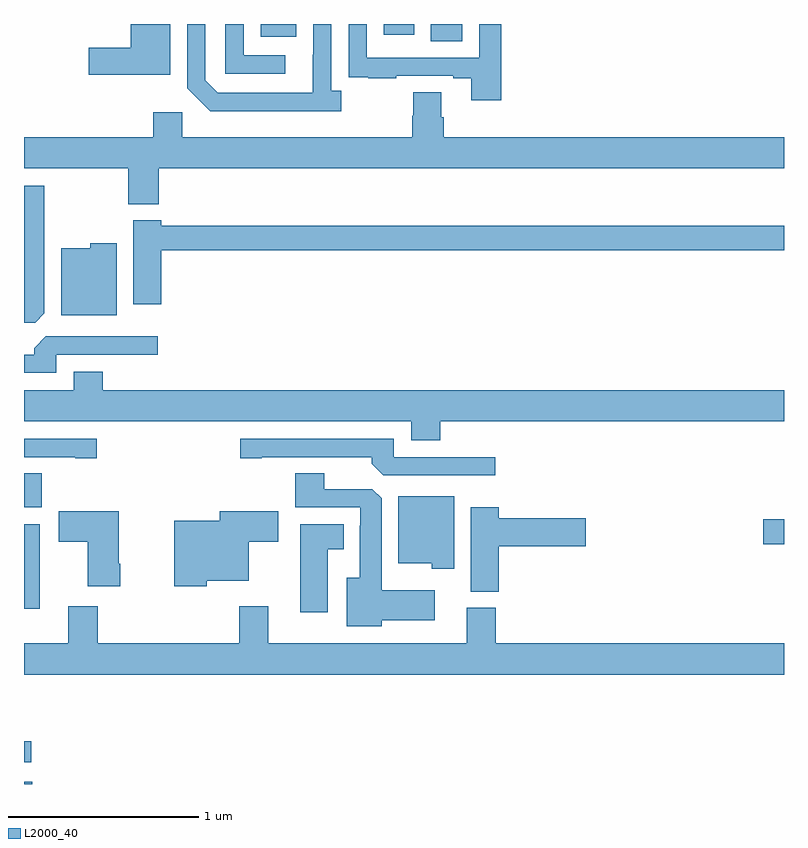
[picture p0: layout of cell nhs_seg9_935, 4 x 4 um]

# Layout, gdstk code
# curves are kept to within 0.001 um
import gdstk
lib = gdstk.Library(unit=1e-6, precision=1e-09)
def R(c, l, rs):  # rectangles x0, y0, x1, y1
    for r in rs: c.add(gdstk.rectangle(r[:2], r[2:], *l))
def P(c, l, *ps):  # polygons
    for p in ps: c.add(gdstk.Polygon(p, *l))
L2000_40 = (2000, 40)

nhs_seg9_935 = lib.new_cell('nhs_seg9_935')
R(nhs_seg9_935, L2000_40, [(161,1206.5,161.044,1206.511), (161,1206.615,161.038,1206.724), (161,1207.422,161.083,1207.867), (164.892,1207.763,165,1207.893), (161,1207.956,161.093,1208.135), (163.142,1210.408,163.306,1210.5), (162.245,1210.433,162.433,1210.5), (162.893,1210.443,163.054,1210.5)])
P(nhs_seg9_935, L2000_40, [(162.376,1210.335),(162.156,1210.335),(162.156,1210.5),(162.06,1210.5),(162.06,1210.239),(162.376,1210.239)],
  [(162.67,1210.15),(162.618,1210.15),(162.618,1210.5),(162.522,1210.5),(162.521,1210.137),(162.021,1210.137),(161.955,1210.203),(161.955,1210.5),(161.859,1210.5),(161.859,1210.161),(161.98,1210.04),(162.67,1210.04)],
  [(161.77,1210.498),(161.681,1210.498),(161.681,1210.5),(161.563,1210.5),(161.563,1210.376),(161.34,1210.376),(161.34,1210.234),(161.77,1210.234)],
  [(163.511,1210.5),(163.395,1210.5),(163.395,1210.323),(162.804,1210.323),(162.804,1210.5),(162.708,1210.5),(162.708,1210.33),(162.709,1210.33),(162.709,1210.221),(162.811,1210.221),(162.811,1210.215),(162.959,1210.215),(162.959,1210.227),(163.259,1210.227),(163.259,1210.215),(163.355,1210.215),(163.355,1210.098),(163.511,1210.098)],
  [(161.708,1209.74),(165,1209.74),(165,1209.904),(163.208,1209.904),(163.208,1210.01),(163.195,1210.01),(163.195,1210.142),(163.048,1210.142),(163.048,1210.017),(163.043,1210.017),(163.043,1209.904),(161.832,1209.904),(161.832,1210.036),(161.681,1210.036),(161.681,1209.904),(161,1209.904),(161,1209.74),(161.548,1209.74),(161.548,1209.551),(161.708,1209.551)],
  [(161.107,1208.977),(161.107,1209.649),(161,1209.649),(161,1208.928),(161.058,1208.928)],
  [(161.723,1209.31),(165,1209.31),(165,1209.439),(161.723,1209.439),(161.723,1209.466),(161.576,1209.466),(161.576,1209.024),(161.723,1209.024)],
  [(161.488,1209.346),(161.349,1209.346),(161.349,1209.319),(161.195,1209.319),(161.195,1208.966),(161.488,1208.966)],
  [(161.169,1208.76),(161.704,1208.76),(161.704,1208.856),(161.115,1208.856),(161.054,1208.794),(161.054,1208.76),(161,1208.76),(161,1208.664),(161.169,1208.664)],
  [(161.261,1208.671),(161.261,1208.572),(161,1208.572),(161,1208.408),(163.037,1208.408),(163.037,1208.309),(163.19,1208.309),(163.19,1208.408),(165,1208.408),(165,1208.572),(161.414,1208.572),(161.414,1208.671)],
  [(163.48,1208.22),(162.945,1208.22),(162.945,1208.316),(162.138,1208.316),(162.138,1208.215),(162.25,1208.215),(162.25,1208.22),(162.83,1208.22),(162.83,1208.186),(162.891,1208.124),(163.48,1208.124)],
  [(161.383,1208.316),(161,1208.316),(161,1208.22),(161.27,1208.22),(161.27,1208.215),(161.383,1208.215)],
  [(162.883,1207.361),(163.162,1207.361),(163.162,1207.519),(162.883,1207.519),(162.883,1208.003),(162.834,1208.052),(162.58,1208.052),(162.58,1208.135),(162.428,1208.135),(162.428,1207.956),(162.771,1207.956),(162.771,1207.859),(162.767,1207.859),(162.767,1207.585),(162.698,1207.585),(162.698,1207.331),(162.883,1207.331)],
  [(163.264,1208.014),(162.971,1208.014),(162.971,1207.661),(163.146,1207.661),(163.146,1207.634),(163.264,1207.634)],
  [(163.499,1207.751),(163.957,1207.751),(163.957,1207.898),(163.499,1207.898),(163.499,1207.957),(163.352,1207.957),(163.352,1207.513),(163.499,1207.513)],
  [(161.506,1207.659),(161.499,1207.659),(161.499,1207.936),(161.184,1207.936),(161.184,1207.774),(161.336,1207.774),(161.336,1207.541),(161.506,1207.541)],
  [(161.963,1207.571),(162.184,1207.571),(162.184,1207.774),(162.337,1207.774),(162.337,1207.936),(162.029,1207.936),(162.029,1207.885),(161.792,1207.885),(161.792,1207.541),(161.963,1207.541)],
  [(162.598,1207.736),(162.682,1207.736),(162.682,1207.867),(162.455,1207.867),(162.455,1207.404),(162.598,1207.404)],
  [(165,1207.24),(163.484,1207.24),(163.484,1207.428),(163.331,1207.428),(163.331,1207.24),(162.286,1207.24),(162.286,1207.435),(162.134,1207.435),(162.134,1207.24),(161.387,1207.24),(161.387,1207.435),(161.234,1207.435),(161.234,1207.24),(161,1207.24),(161,1207.076),(165,1207.076)])

lib.write_gds('nhs_seg9_935.gds')
